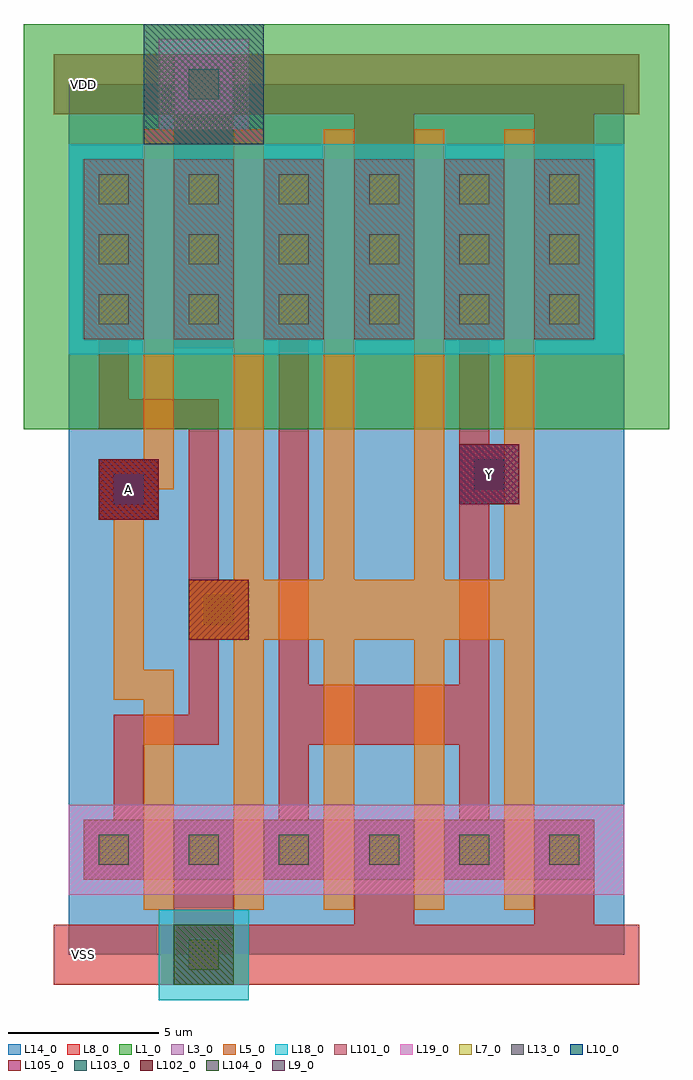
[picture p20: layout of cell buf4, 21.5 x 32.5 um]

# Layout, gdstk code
import gdstk
lib = gdstk.Library(unit=1e-6, precision=1e-09)
def R(c, l, rs):  # rectangles x0, y0, x1, y1
    for r in rs: c.add(gdstk.rectangle(r[:2], r[2:], *l))
L1_0 = (1, 0)
L3_0 = (3, 0)
L5_0 = (5, 0)
L7_0 = (7, 0)
L8_0 = (8, 0)
L9_0 = (9, 0)
L10_0 = (10, 0)
L13_0 = (13, 0)
L14_0 = (14, 0)
L18_0 = (18, 0)
L19_0 = (19, 0)
L101_0 = (101, 0)
L102_0 = (102, 0)
L103_0 = (103, 0)
L104_0 = (104, 0)
L105_0 = (105, 0)

dcont = lib.new_cell('dcont')
R(dcont, L3_0, [(-1,-1,1,1)])
R(dcont, L7_0, [(-0.5,-0.5,0.5,0.5)])
R(dcont, L8_0, [(-1,-1,1,1)])
R(dcont, L13_0, [(-0.5,-0.5,0.5,0.5)])
R(dcont, L101_0, [(-1,-1,1,1)])
dcont.add(gdstk.Label('dcont', (0,0), layer=13, texttype=0))

psubcont = lib.new_cell('psubcont')
R(psubcont, L18_0, [(-1.5,-1.5,1.5,1.5)])
R(psubcont, L104_0, [(-1,-1,1,1)])
psubcont.add(gdstk.Reference(dcont, (0,0)))
psubcont.add(gdstk.Label('PScon', (0,0), layer=13, texttype=0))

nsubcont = lib.new_cell('nsubcont')
R(nsubcont, L1_0, [(-2,-2,2,2)])
R(nsubcont, L19_0, [(-1.5,-1.5,1.5,1.5)])
R(nsubcont, L103_0, [(-2,-2,2,2)])
nsubcont.add(gdstk.Reference(dcont, (0,0)))
nsubcont.add(gdstk.Label('NScont', (0,0), layer=13, texttype=0))

via = lib.new_cell('Via')
R(via, L8_0, [(-1,-1,1,1)])
R(via, L9_0, [(-0.5,-0.5,0.5,0.5)])
R(via, L10_0, [(-1,-1,1,1)])
R(via, L13_0, [(-0.5,-0.5,0.5,0.5)])
R(via, L105_0, [(-1,-1,1,1)])
via.add(gdstk.Label('via', (0,0), layer=13, texttype=0))

pcont = lib.new_cell('pcont')
R(pcont, L5_0, [(-1,-1,1,1)])
R(pcont, L7_0, [(-0.5,-0.5,0.5,0.5)])
R(pcont, L8_0, [(-1,-1,1,1)])
R(pcont, L102_0, [(-1,-1,1,1)])
pcont.add(gdstk.Label('pcont', (0,0), layer=13, texttype=0))

buf4 = lib.new_cell('buf4')
R(buf4, L1_0, [(-1.5,17.5,20,31)])
R(buf4, L3_0, [(0.5,2.5,17.5,4.5), (0.5,20.5,17.5,26.5)])
R(buf4, L8_0, [(-0.5,-1,19,1), (-0.5,-1,19,1), (1,14.5,3,16.5), (1,14.5,3,16.5), (13,15,15,17), (13,15,15,17), (-0.5,28,19,30), (-0.5,28,19,30)])
R(buf4, L10_0, [(1,14.5,3,16.5), (1,14.5,3,16.5), (13,15,15,17), (13,15,15,17)])
R(buf4, L14_0, [(0,0,18.5,29)])
R(buf4, L18_0, [(0,20,18.5,27)])
R(buf4, L19_0, [(0,2,18.5,5)])
R(buf4, L105_0, [(1,14.5,3,16.5), (13,15,15,17)])
buf4.add(gdstk.FlexPath([(6.5,12),(15,12)], 1, ends="extended", simple_path=True, layer=5, datatype=0))  # L5_0
buf4.add(gdstk.FlexPath([(6.5,11),(15,11)], 1, ends="extended", simple_path=True, layer=5, datatype=0))  # L5_0
buf4.add(gdstk.FlexPath([(12,2),(12,27)], 1, ends="extended", simple_path=True, layer=5, datatype=0))  # L5_0
buf4.add(gdstk.FlexPath([(15,27),(15,2)], 1, ends="extended", simple_path=True, layer=5, datatype=0))  # L5_0
buf4.add(gdstk.FlexPath([(6,2),(6,27)], 1, ends="extended", simple_path=True, layer=5, datatype=0))  # L5_0
buf4.add(gdstk.FlexPath([(9,27),(9,2)], 1, ends="extended", simple_path=True, layer=5, datatype=0))  # L5_0
buf4.add(gdstk.FlexPath([(3,2),(3,9),(2,9),(2,16),(3,16),(3,27)], 1, ends="extended", simple_path=True, layer=5, datatype=0))  # L5_0
buf4.add(gdstk.FlexPath([(1.5,21.5),(1.5,25.5)], 1.4, ends="extended", simple_path=True, layer=8, datatype=0))  # L8_0
buf4.add(gdstk.FlexPath([(1.5,20.5),(1.5,18),(4.5,18),(4.5,7.5),(2,7.5),(2,3.5)], 1, ends="extended", simple_path=True, layer=8, datatype=0))  # L8_0
buf4.add(gdstk.FlexPath([(4.5,21.2),(4.5,28.5)], 2, ends="extended", simple_path=True, layer=8, datatype=0))  # L8_0
buf4.add(gdstk.FlexPath([(4.5,1),(4.5,3.5)], 2, ends="extended", simple_path=True, layer=8, datatype=0))  # L8_0
buf4.add(gdstk.FlexPath([(7.5,21.5),(7.5,25.5)], 1.4, ends="extended", simple_path=True, layer=8, datatype=0))  # L8_0
buf4.add(gdstk.FlexPath([(7.5,3.5),(7.5,20.5)], 1, ends="extended", simple_path=True, layer=8, datatype=0))  # L8_0
buf4.add(gdstk.FlexPath([(10.5,1),(10.5,3.5)], 2, ends="extended", simple_path=True, layer=8, datatype=0))  # L8_0
buf4.add(gdstk.FlexPath([(10.5,21.5),(10.5,28.5)], 2, ends="extended", simple_path=True, layer=8, datatype=0))  # L8_0
buf4.add(gdstk.FlexPath([(10.5,22.3),(10.5,25.5)], 1.4, ends="extended", simple_path=True, layer=8, datatype=0))  # L8_0
buf4.add(gdstk.FlexPath([(7.5,7.5),(13.5,7.5)], 1, ends="extended", simple_path=True, layer=8, datatype=0))  # L8_0
buf4.add(gdstk.FlexPath([(7.5,8.5),(13.5,8.5)], 1, ends="extended", simple_path=True, layer=8, datatype=0))  # L8_0
buf4.add(gdstk.FlexPath([(13.5,3.5),(13.5,20.5)], 1, ends="extended", simple_path=True, layer=8, datatype=0))  # L8_0
buf4.add(gdstk.FlexPath([(16.5,21.5),(16.5,28.5)], 2, ends="extended", simple_path=True, layer=8, datatype=0))  # L8_0
buf4.add(gdstk.FlexPath([(16.5,1),(16.5,3.5)], 2, ends="extended", simple_path=True, layer=8, datatype=0))  # L8_0
buf4.add(gdstk.Reference(dcont, (1.5,25.5)))
buf4.add(gdstk.Reference(psubcont, (4.5,0)))
buf4.add(gdstk.Reference(nsubcont, (4.5,29)))
buf4.add(gdstk.Reference(dcont, (10.5,25.5)))
buf4.add(gdstk.Reference(dcont, (10.5,23.5)))
buf4.add(gdstk.Reference(dcont, (7.5,25.5)))
buf4.add(gdstk.Reference(dcont, (4.5,25.5)))
buf4.add(gdstk.Reference(dcont, (16.5,3.5)))
buf4.add(gdstk.Reference(dcont, (10.5,3.5)))
buf4.add(gdstk.Reference(dcont, (4.5,23.5)))
buf4.add(gdstk.Reference(via, (2,15.5)))
buf4.add(gdstk.Reference(dcont, (13.5,21.5)))
buf4.add(gdstk.Reference(dcont, (7.5,3.5)))
buf4.add(gdstk.Reference(pcont, (5,11.5)))
buf4.add(gdstk.Reference(dcont, (13.5,3.5)))
buf4.add(gdstk.Reference(dcont, (16.5,21.5)))
buf4.add(gdstk.Reference(pcont, (2,15.5)))
buf4.add(gdstk.Reference(dcont, (1.5,23.5)))
buf4.add(gdstk.Reference(dcont, (1.5,21.5)))
buf4.add(gdstk.Reference(dcont, (4.5,3.5)))
buf4.add(gdstk.Reference(dcont, (7.5,23.5)))
buf4.add(gdstk.Reference(dcont, (1.5,3.5)))
buf4.add(gdstk.Reference(dcont, (7.5,21.5)))
buf4.add(gdstk.Reference(dcont, (13.5,23.5)))
buf4.add(gdstk.Reference(dcont, (10.5,21.5)))
buf4.add(gdstk.Reference(dcont, (4.5,21.5)))
buf4.add(gdstk.Reference(dcont, (16.5,25.5)))
buf4.add(gdstk.Reference(dcont, (16.5,23.5)))
buf4.add(gdstk.Reference(via, (14,16)))
buf4.add(gdstk.Reference(dcont, (13.5,25.5)))
buf4.add(gdstk.Label('VDD', (0.5,29), layer=8, texttype=0))
buf4.add(gdstk.Label('VSS', (0.5,0), layer=8, texttype=0))
buf4.add(gdstk.Label('Y', (14,16), layer=10, texttype=0))
buf4.add(gdstk.Label('A', (2,15.5), layer=10, texttype=0))
buf4.add(gdstk.Label('via', (2,15.5), layer=13, texttype=0))
buf4.add(gdstk.Label('via', (14,16), layer=13, texttype=0))

lib.write_gds('buf4.gds')
